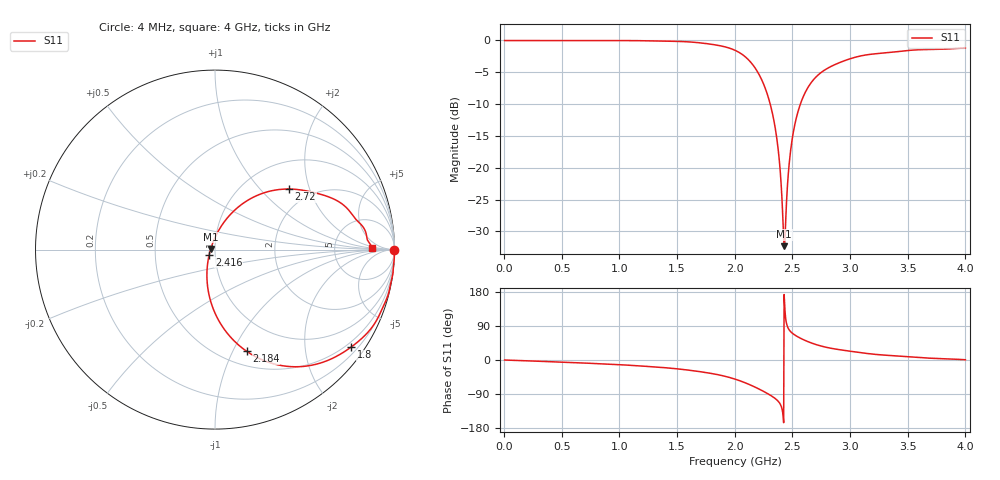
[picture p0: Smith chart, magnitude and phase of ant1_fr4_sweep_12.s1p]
! TOUCHSTONE file generated by CST MICROWAVE STUDIO
! Date and time: Fri May  6 15:38:56 2022
! Project name: ant1_ceramic_sweep_fr4.cst
! Parameters = {e=0.035; h=1.6; i=0.8; l1=0.5; l2=21.1696; ls=80; wl=1.7; ws=30}
! Header version: 2018
! Port assignment regex: !\s*Touchstone port\s*([0-9]+)\s*=\s*(CST MWS port|CST DS port)\s*([0-9]+|Zmin|Zmax)\s*\(\"(.*)\"\)(\s*mode\s*([0-9]+))?.*
! Touchstone port assignment:
! Touchstone port 1 = CST MWS port 1 ("")
# GHz S DB R 50
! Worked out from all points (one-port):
!   1000 points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, 4 MHz to 4 GHz, reference 50 ohm
!   lowest |S11| = -32.3 dB at 2.428 GHz (marker M1), VSWR 1.05, Z = 47.7 + j0.29 ohm
!   |S11| at or under -10 dB: 2.307 GHz to 2.569 GHz (261.7 MHz wide, 10.7 % of centre)
!   S11 on the Smith chart (normalised r, x): 4 MHz: open; 1.8 GHz: 0.37, -3.07; 2.184 GHz: 0.65, -1.13; 2.416 GHz: 0.94, -0.05; 2.72 GHz: 1.56, +1.47; 4 GHz: 15, +1
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0.004  -0.01 -0.0
0.504  -0.01 -5.6
1.004  -0.02 -12.4
1.504  -0.15 -23.4
1.8  -0.61 -35.7
1.908  -0.97 -42.4
2.004  -1.56 -50.6
2.1  -2.71 -61.3
2.184  -4.53 -72.7
2.272  -7.90 -86.5
2.34  -12.65 -99.3
2.364  -15.32 -105.1
2.384  -18.42 -111.6
2.396  -20.96 -117.4
2.416  -27.51 -139.5
2.428  -32.33 172.8
2.44  -29.00 113.6
2.472  -19.35 79.4
2.504  -14.83 69.6
2.54  -11.73 62.3
2.588  -9.09 54.7
2.648  -7.00 46.8
2.72  -5.47 39.3
2.836  -4.07 30.9
3.004  -2.85 23.0
3.176  -2.18 16.2
3.504  -1.58 8.7
4  -1.18 0.6
